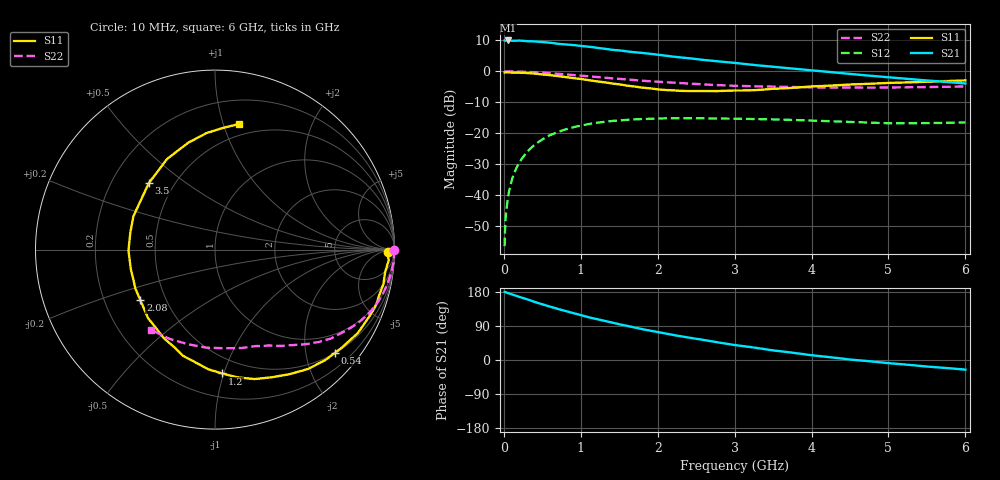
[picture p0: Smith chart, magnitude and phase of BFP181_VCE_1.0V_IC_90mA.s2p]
! Infineon Technologies  Discrete & RF Semiconductors
! BFP181
! VCE = 1.0 V,  IC =  90 mA
! Common Emitter S-Parameters:  Jan 2016
# GHz  S  MA  R  50
!  f  S11  S21  S12  S22
! GHz  MAG  ANG  MAG  ANG  MAG  ANG  MAG  ANG
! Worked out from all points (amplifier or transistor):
!   210 points, 10 MHz to 6 GHz, reference 50 ohm
!   highest |S21| = 10.0 dB at 50 MHz (marker M1)
!   |S21| within 3 dB of that: start of sweep to 1.402 GHz
!   unconditionally stable (mu >= 1): 3 GHz to end of sweep
!   at 185 MHz: K = 0.07, MSG = 20.0 dB, |S12| = -30.1 dB
!   at 1.52 GHz: K = 0.54, MSG = 11.3 dB, |S12| = -15.8 dB
!   at 6 GHz: K = 1.39, MAG = 2.6 dB, |S12| = -16.5 dB
!   S11 on the Smith chart (normalised r, x): 10 MHz: 45, -19; 540 MHz: 0.50, -2.61; 1.2 GHz: 0.37, -0.99; 2.08 GHz: 0.36, -0.27; 3.5 GHz: 0.36, +0.37; 6 GHz: 0.40, +1.13
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0.01  0.963 -0.9  3.155 179.7  0.0015 89.1  0.9983 -0.2
0.02  0.9623 -1.6  3.117 179.4  0.0038 89.1  0.9927 -0.7
0.05  0.9697 -3.5  3.157 176.7  0.0085 89.2  0.9974 -1.9
0.11  0.956 -8.5  3.124 172.8  0.0186 83.5  0.9973 -4.1
0.2  0.9496 -15.4  3.147 166.5  0.0336 79.8  0.9906 -7.4
0.4  0.9219 -30.3  3.049 153.3  0.065 69.9  0.9677 -14.6
0.54  0.882 -40.7  2.948 144.4  0.0848 62.7  0.945 -19.4
0.8  0.8093 -59.0  2.737 129.2  0.1154 51.5  0.8955 -27.2
1.02  0.7471 -74.4  2.56 117.2  0.1347 42.7  0.847 -33.1
1.2  0.6914 -86.6  2.414 108.3  0.1476 36.1  0.8134 -37.6
1.6  0.5886 -112.8  2.098 90.1  0.1655 25.2  0.7417 -45.0
1.8  0.5457 -127.4  1.983 81.3  0.1696 20.6  0.7062 -48.5
2.02  0.5094 -142.1  1.844 73.0  0.1736 15.9  0.6769 -51.9
2.08  0.502 -145.9  1.803 70.8  0.1741 14.6  0.6696 -52.9
2.4  0.4812 -167.2  1.636 59.2  0.1753 8.5  0.6334 -58.0
2.8  0.4814 168.5  1.449 45.9  0.1736 2.9  0.5997 -63.8
3.1  0.4909 152.9  1.328 37.0  0.1711 -0.9  0.5799 -68.5
3.5  0.5232 134.7  1.188 25.3  0.1684 -4.5  0.5679 -74.9
4.1  0.5771 114.9  1.008 10.5  0.1586 -8.2  0.55 -86.6
4.5  0.6134 104.2  0.907 1.2  0.1524 -10.0  0.5485 -95.2
5.1  0.6553 92.6  0.784 -9.9  0.1453 -9.2  0.5488 -108.4
6  0.714 79.0  0.638 -25.4  0.1496 -6.1  0.5713 -128.6
